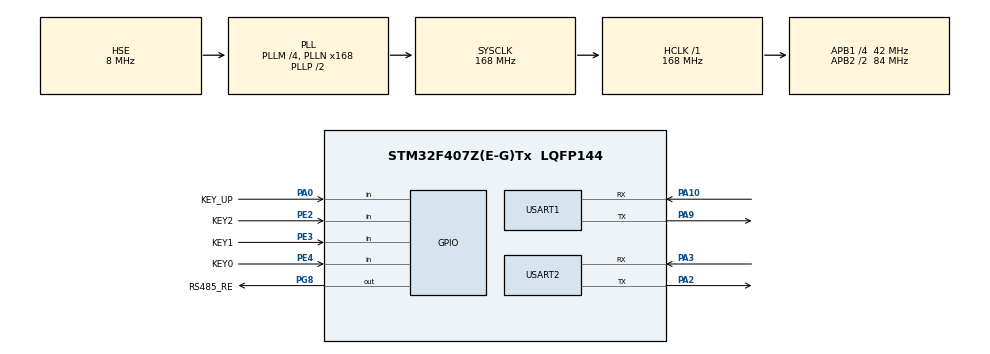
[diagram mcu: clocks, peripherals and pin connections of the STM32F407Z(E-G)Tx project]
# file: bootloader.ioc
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Dma.Request0=USART2_TX
Dma.Request1=USART2_RX
Dma.USART2_RX.1.Direction=DMA_PERIPH_TO_MEMORY
Dma.USART2_RX.1.FIFOMode=DMA_FIFOMODE_DISABLE
Dma.USART2_RX.1.Instance=DMA1_Stream5
Dma.USART2_RX.1.MemDataAlignment=DMA_MDATAALIGN_BYTE
Dma.USART2_RX.1.MemInc=DMA_MINC_ENABLE
Dma.USART2_RX.1.Mode=DMA_CIRCULAR
Dma.USART2_RX.1.PeriphDataAlignment=DMA_PDATAALIGN_BYTE
Dma.USART2_RX.1.PeriphInc=DMA_PINC_DISABLE
Dma.USART2_RX.1.Priority=DMA_PRIORITY_VERY_HIGH
Dma.USART2_TX.0.Direction=DMA_MEMORY_TO_PERIPH
Dma.USART2_TX.0.FIFOMode=DMA_FIFOMODE_DISABLE
Dma.USART2_TX.0.Instance=DMA1_Stream6
Dma.USART2_TX.0.MemDataAlignment=DMA_MDATAALIGN_BYTE
Dma.USART2_TX.0.MemInc=DMA_MINC_ENABLE
Dma.USART2_TX.0.Mode=DMA_NORMAL
Dma.USART2_TX.0.PeriphDataAlignment=DMA_PDATAALIGN_BYTE
Dma.USART2_TX.0.PeriphInc=DMA_PINC_DISABLE
Dma.USART2_TX.0.Priority=DMA_PRIORITY_VERY_HIGH
Mcu.Family=STM32F4
Mcu.Name=STM32F407Z(E-G)Tx
Mcu.Package=LQFP144
NVIC.DMA1_Stream5_IRQn=true\:0\:0\:false\:false\:true\:false\:true
NVIC.DMA1_Stream6_IRQn=true\:0\:0\:false\:false\:true\:false\:true
NVIC.PriorityGroup=NVIC_PRIORITYGROUP_4
NVIC.USART2_IRQn=true\:0\:0\:false\:false\:true\:true\:true
PA0-WKUP.GPIO_Label=KEY_UP
PA0-WKUP.GPIO_PuPd=GPIO_PULLDOWN
PA0-WKUP.Signal=GPIO_Input
PA10.Mode=Asynchronous
PA10.Signal=USART1_RX
PA13.Mode=Serial_Wire
PA13.Signal=SYS_JTMS-SWDIO
PA14.Mode=Serial_Wire
PA14.Signal=SYS_JTCK-SWCLK
PA2.Mode=Asynchronous
PA2.Signal=USART2_TX
PA3.Mode=Asynchronous
PA3.Signal=USART2_RX
PA9.Mode=Asynchronous
PA9.Signal=USART1_TX
PE2.GPIO_Label=KEY2
PE2.GPIO_PuPd=GPIO_PULLUP
PE2.Signal=GPIO_Input
PE3.GPIO_Label=KEY1
PE3.GPIO_PuPd=GPIO_PULLUP
PE3.Signal=GPIO_Input
PE4.GPIO_Label=KEY0
PE4.GPIO_PuPd=GPIO_PULLUP
PE4.Signal=GPIO_Input
PG8.GPIO_Label=RS485_RE
PG8.GPIO_ModeDefaultOutputPP=GPIO_MODE_OUTPUT_PP
PG8.GPIO_Speed=GPIO_SPEED_FREQ_VERY_HIGH
PG8.Signal=GPIO_Output
PH0-OSC_IN.Mode=HSE-External-Oscillator
PH0-OSC_IN.Signal=RCC_OSC_IN
PH1-OSC_OUT.Mode=HSE-External-Oscillator
PH1-OSC_OUT.Signal=RCC_OSC_OUT
ProjectManager.HeapSize=0x00
ProjectManager.StackSize=0x400
ProjectManager.TargetToolchain=MDK-ARM V5.32
RCC.48MHZClocksFreq_Value=84000000
RCC.AHBFreq_Value=168000000
RCC.APB1CLKDivider=RCC_HCLK_DIV4
RCC.APB1Freq_Value=42000000
RCC.APB1TimFreq_Value=84000000
RCC.APB2CLKDivider=RCC_HCLK_DIV2
RCC.APB2Freq_Value=84000000
RCC.APB2TimFreq_Value=168000000
RCC.CortexFreq_Value=168000000
RCC.HCLKFreq_Value=168000000
RCC.HSE_VALUE=8000000
RCC.HSI_VALUE=16000000
RCC.LSE_VALUE=32768
RCC.PLLM=4
RCC.PLLN=168
RCC.PLLSourceVirtual=RCC_PLLSOURCE_HSE
RCC.SYSCLKFreq_VALUE=168000000
RCC.SYSCLKSource=RCC_SYSCLKSOURCE_PLLCLK
RCC.VCOOutputFreq_Value=336000000
USART1.VirtualMode=VM_ASYNC
USART2.VirtualMode=VM_ASYNC
VP_RTC_VS_RTC_Activate.Mode=RTC_Enabled
board=custom

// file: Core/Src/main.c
/* USER CODE BEGIN Header */
/**
  ******************************************************************************
  * @file           : main.c
  * @brief          : Main program body
  ******************************************************************************
  * @attention
  *
  * <h2><center>&copy; Copyright (c) 2022 STMicroelectronics.
  * All rights reserved.</center></h2>
  *
  * This software component is licensed by ST under BSD 3-Clause license,
  * the "License"; You may not use this file except in compliance with the
  * License. You may obtain a copy of the License at:
  *                        opensource.org/licenses/BSD-3-Clause
  *
  ******************************************************************************
  */
/* USER CODE END Header */
#include "main.h"

/* USER CODE BEGIN Includes */
#include <stdio.h>
#include "boot.h"
#include "key.h"
#include "rs485.h"
#include "task_run.h"
#include "common.h"
/* USER CODE END Includes */

/* USER CODE BEGIN PD */
#define DBG_ENABLE
#define DBG_COLOR
#define DBG_SECTION_NAME "main"
#define DBG_LEVEL        DBG_LOG
#include "dbg_log.h"
/* USER CODE END PD */

RTC_HandleTypeDef hrtc;

UART_HandleTypeDef huart1;
UART_HandleTypeDef huart2;
DMA_HandleTypeDef hdma_usart2_tx;
DMA_HandleTypeDef hdma_usart2_rx;

/* USER CODE BEGIN PV */
struct global_attr gbl_attr = {0};
const char *modbus_mode_str_tab[MODBUS_MODE_MAX] = {
#if MODBUS_MASTER_ENABLE
    "master",
#endif

#if MODBUS_SLAVE_ENABLE
    "slave",
#endif

#if MODBUS_P2P_UPDATE_ENABLE
    "p2p_update",
#endif

#if MODBUS_BROADCAST_UPDATE_ENABLE
    "broadcast_update"
#endif
};
/* USER CODE END PV */

void SystemClock_Config(void);
static void MX_GPIO_Init(void);
static void MX_USART1_UART_Init(void);
static void MX_DMA_Init(void);
static void MX_USART2_UART_Init(void);
static void MX_RTC_Init(void);

/* USER CODE BEGIN 0 */

void print_help(void)
{
    printf("\r\n\r\n");
    LOG_I("Now is in bootloader.");
    LOG_I("Click KEY2 to print help.");
    LOG_I("Click KEY1 to switch modbus demo (master/slave/p2p_update/broadcast_update).");
    LOG_I("Click KEY0 to run app.");
    LOG_I("Click KEY_UP to erase app flash in p2p_update/broadcast_update mode");
    printf("\r\n");
    LOG_I("now modbus mode is %s", modbus_mode_str_tab[gbl_attr.modbus_mode]);
    printf("\r\n");
    for (int i = 0; i < MODBUS_MODE_MAX; i++) {
        LOG_I("mode:%18s  total_cnt:%10u  success_cnt:%10u", modbus_mode_str_tab[i],
              gbl_attr.modbus_total_cnt[i], gbl_attr.modbus_success_cnt[i]);
    }
    printf("\r\n\r\n");
}

/* USER CODE END 0 */

int main(void)
{
  /* USER CODE BEGIN 1 */
  boot_check();
  /* USER CODE END 1 */

  /* MCU Configuration--------------------------------------------------------*/

  /* Reset of all peripherals, Initializes the Flash interface and the Systick. */
  HAL_Init();

  /* Configure the system clock */
  SystemClock_Config();

  /* Initialize all configured peripherals */
  MX_GPIO_Init();
  MX_USART1_UART_Init();
  MX_DMA_Init();
  MX_USART2_UART_Init();
  MX_RTC_Init();
  /* USER CODE BEGIN 2 */
  print_help();
  /* USER CODE END 2 */

  /* Infinite loop */
  /* USER CODE BEGIN WHILE */
  key_init();
  rs485_init();
  boot_init();
  while (1)
  {
    task_process();
    /* USER CODE END WHILE */

  }
}

void SystemClock_Config(void)
{
  RCC_OscInitTypeDef RCC_OscInitStruct = {0};
  RCC_ClkInitTypeDef RCC_ClkInitStruct = {0};

  /** Configure the main internal regulator output voltage
  */
  __HAL_RCC_PWR_CLK_ENABLE();
  __HAL_PWR_VOLTAGESCALING_CONFIG(PWR_REGULATOR_VOLTAGE_SCALE1);
  /** Initializes the RCC Oscillators according to the specified parameters
  * in the RCC_OscInitTypeDef structure.
  */
  RCC_OscInitStruct.OscillatorType = RCC_OSCILLATORTYPE_LSI|RCC_OSCILLATORTYPE_HSE;
  RCC_OscInitStruct.HSEState = RCC_HSE_ON;
  RCC_OscInitStruct.LSIState = RCC_LSI_ON;
  RCC_OscInitStruct.PLL.PLLState = RCC_PLL_ON;
  RCC_OscInitStruct.PLL.PLLSource = RCC_PLLSOURCE_HSE;
  RCC_OscInitStruct.PLL.PLLM = 4;
  RCC_OscInitStruct.PLL.PLLN = 168;
  RCC_OscInitStruct.PLL.PLLP = RCC_PLLP_DIV2;
  RCC_OscInitStruct.PLL.PLLQ = 4;
  if (HAL_RCC_OscConfig(&RCC_OscInitStruct) != HAL_OK)
  {
    Error_Handler();
  }
  /** Initializes the CPU, AHB and APB buses clocks
  */
  RCC_ClkInitStruct.ClockType = RCC_CLOCKTYPE_HCLK|RCC_CLOCKTYPE_SYSCLK
                              |RCC_CLOCKTYPE_PCLK1|RCC_CLOCKTYPE_PCLK2;
  RCC_ClkInitStruct.SYSCLKSource = RCC_SYSCLKSOURCE_PLLCLK;
  RCC_ClkInitStruct.AHBCLKDivider = RCC_SYSCLK_DIV1;
  RCC_ClkInitStruct.APB1CLKDivider = RCC_HCLK_DIV4;
  RCC_ClkInitStruct.APB2CLKDivider = RCC_HCLK_DIV2;

  if (HAL_RCC_ClockConfig(&RCC_ClkInitStruct, FLASH_LATENCY_5) != HAL_OK)
  {
    Error_Handler();
  }
}

static void MX_RTC_Init(void)
{

  /** Initialize RTC Only
  */
  hrtc.Instance = RTC;
  hrtc.Init.HourFormat = RTC_HOURFORMAT_24;
  hrtc.Init.AsynchPrediv = 127;
  hrtc.Init.SynchPrediv = 255;
  hrtc.Init.OutPut = RTC_OUTPUT_DISABLE;
  hrtc.Init.OutPutPolarity = RTC_OUTPUT_POLARITY_HIGH;
  hrtc.Init.OutPutType = RTC_OUTPUT_TYPE_OPENDRAIN;
  if (HAL_RTC_Init(&hrtc) != HAL_OK)
  {
    Error_Handler();
  }

}

static void MX_USART1_UART_Init(void)
{

  huart1.Instance = USART1;
  huart1.Init.BaudRate = 115200;
  huart1.Init.WordLength = UART_WORDLENGTH_8B;
  huart1.Init.StopBits = UART_STOPBITS_1;
  huart1.Init.Parity = UART_PARITY_NONE;
  huart1.Init.Mode = UART_MODE_TX_RX;
  huart1.Init.HwFlowCtl = UART_HWCONTROL_NONE;
  huart1.Init.OverSampling = UART_OVERSAMPLING_16;
  if (HAL_UART_Init(&huart1) != HAL_OK)
  {
    Error_Handler();
  }

}

static void MX_USART2_UART_Init(void)
{

  huart2.Instance = USART2;
  huart2.Init.BaudRate = 115200;
  huart2.Init.WordLength = UART_WORDLENGTH_8B;
  huart2.Init.StopBits = UART_STOPBITS_1;
  huart2.Init.Parity = UART_PARITY_NONE;
  huart2.Init.Mode = UART_MODE_TX_RX;
  huart2.Init.HwFlowCtl = UART_HWCONTROL_NONE;
  huart2.Init.OverSampling = UART_OVERSAMPLING_16;
  if (HAL_UART_Init(&huart2) != HAL_OK)
  {
    Error_Handler();
  }

}

static void MX_DMA_Init(void)
{

  /* DMA controller clock enable */
  __HAL_RCC_DMA1_CLK_ENABLE();

  /* DMA interrupt init */
  /* DMA1_Stream5_IRQn interrupt configuration */
  HAL_NVIC_SetPriority(DMA1_Stream5_IRQn, 0, 0);
  HAL_NVIC_EnableIRQ(DMA1_Stream5_IRQn);
  /* DMA1_Stream6_IRQn interrupt configuration */
  HAL_NVIC_SetPriority(DMA1_Stream6_IRQn, 0, 0);
  HAL_NVIC_EnableIRQ(DMA1_Stream6_IRQn);

}

static void MX_GPIO_Init(void)
{
  GPIO_InitTypeDef GPIO_InitStruct = {0};

  /* GPIO Ports Clock Enable */
  __HAL_RCC_GPIOE_CLK_ENABLE();
  __HAL_RCC_GPIOH_CLK_ENABLE();
  __HAL_RCC_GPIOA_CLK_ENABLE();
  __HAL_RCC_GPIOG_CLK_ENABLE();

  /*Configure GPIO pin Output Level */
  HAL_GPIO_WritePin(RS485_RE_GPIO_Port, RS485_RE_Pin, GPIO_PIN_RESET);

  /*Configure GPIO pins : KEY2_Pin KEY1_Pin KEY0_Pin */
  GPIO_InitStruct.Pin = KEY2_Pin|KEY1_Pin|KEY0_Pin;
  GPIO_InitStruct.Mode = GPIO_MODE_INPUT;
  GPIO_InitStruct.Pull = GPIO_PULLUP;
  HAL_GPIO_Init(GPIOE, &GPIO_InitStruct);

  /*Configure GPIO pin : KEY_UP_Pin */
  GPIO_InitStruct.Pin = KEY_UP_Pin;
  GPIO_InitStruct.Mode = GPIO_MODE_INPUT;
  GPIO_InitStruct.Pull = GPIO_PULLDOWN;
  HAL_GPIO_Init(KEY_UP_GPIO_Port, &GPIO_InitStruct);

  /*Configure GPIO pin : RS485_RE_Pin */
  GPIO_InitStruct.Pin = RS485_RE_Pin;
  GPIO_InitStruct.Mode = GPIO_MODE_OUTPUT_PP;
  GPIO_InitStruct.Pull = GPIO_NOPULL;
  GPIO_InitStruct.Speed = GPIO_SPEED_FREQ_VERY_HIGH;
  HAL_GPIO_Init(RS485_RE_GPIO_Port, &GPIO_InitStruct);

}

void Error_Handler(void)
{
  __disable_irq();
  while (1)
  {
  }
}

/************************ (C) COPYRIGHT STMicroelectronics *****END OF FILE****/
